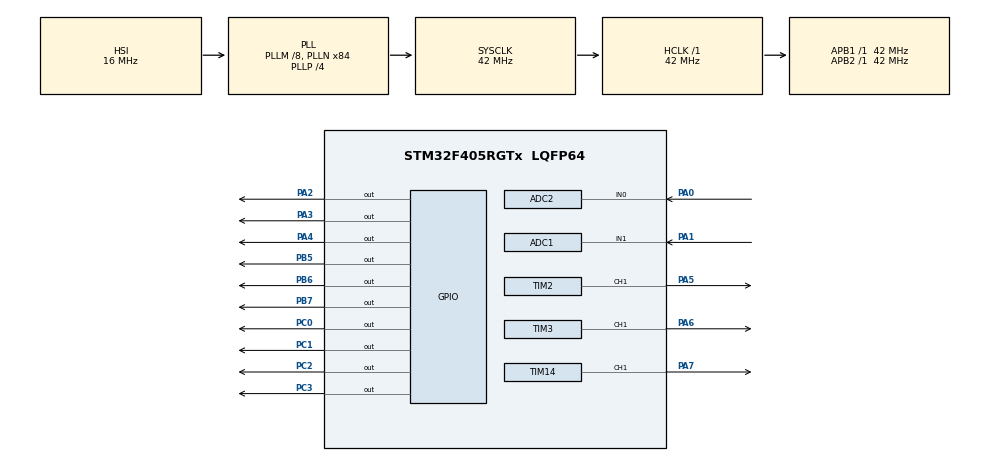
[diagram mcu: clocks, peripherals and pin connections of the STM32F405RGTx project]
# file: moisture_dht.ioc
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ADC1.Channel-1\#ChannelRegularConversion=ADC_CHANNEL_1
ADC1.ContinuousConvMode=DISABLE
ADC1.NbrOfConversionFlag=1
ADC1.Rank-1\#ChannelRegularConversion=1
ADC1.SamplingTime-1\#ChannelRegularConversion=ADC_SAMPLETIME_3CYCLES
ADC1.master=1
ADC2.Channel-1\#ChannelRegularConversion=ADC_CHANNEL_0
ADC2.ContinuousConvMode=ENABLE
ADC2.NbrOfConversionFlag=1
ADC2.Rank-1\#ChannelRegularConversion=1
ADC2.SamplingTime-1\#ChannelRegularConversion=ADC_SAMPLETIME_3CYCLES
Mcu.Family=STM32F4
Mcu.Name=STM32F405RGTx
Mcu.Package=LQFP64
NVIC.PriorityGroup=NVIC_PRIORITYGROUP_4
PA0-WKUP.Signal=ADCx_IN0
PA1.Signal=ADCx_IN1
PA2.Signal=GPIO_Output
PA3.Signal=GPIO_Output
PA4.Signal=GPIO_Output
PA5.Signal=S_TIM2_CH1_ETR
PA6.Signal=S_TIM3_CH1
PA7.Signal=S_TIM14_CH1
PB5.Signal=GPIO_Output
PB6.Signal=GPIO_Output
PB7.Signal=GPIO_Output
PC0.Signal=GPIO_Output
PC1.Signal=GPIO_Output
PC2.Signal=GPIO_Output
PC3.Signal=GPIO_Output
ProjectManager.HeapSize=0x200
ProjectManager.StackSize=0x400
ProjectManager.TargetToolchain=STM32CubeIDE
RCC.48MHZClocksFreq_Value=42000000
RCC.AHBFreq_Value=42000000
RCC.APB1Freq_Value=42000000
RCC.APB1TimFreq_Value=42000000
RCC.APB2Freq_Value=42000000
RCC.APB2TimFreq_Value=42000000
RCC.CortexFreq_Value=42000000
RCC.HCLKFreq_Value=42000000
RCC.HSE_VALUE=25000000
RCC.HSI_VALUE=16000000
RCC.LSE_VALUE=32768
RCC.PLLM=8
RCC.PLLN=84
RCC.PLLP=RCC_PLLP_DIV4
RCC.SYSCLKFreq_VALUE=42000000
RCC.SYSCLKSource=RCC_SYSCLKSOURCE_PLLCLK
RCC.VCOOutputFreq_Value=168000000
SH.ADCx_IN0.0=ADC2_IN0,IN0
SH.ADCx_IN1.0=ADC1_IN1,IN1
SH.S_TIM14_CH1.0=TIM14_CH1,PWM Generation1 CH1
SH.S_TIM2_CH1_ETR.0=TIM2_CH1,PWM Generation1 CH1
SH.S_TIM3_CH1.0=TIM3_CH1,PWM Generation1 CH1
TIM14.Channel=TIM_CHANNEL_1
TIM14.Period=799
TIM14.Prescaler=1
TIM2.Channel-PWM\ Generation1\ CH1=TIM_CHANNEL_1
TIM2.Period=99
TIM2.Prescaler=15
TIM3.Channel-PWM\ Generation1\ CH1=TIM_CHANNEL_1
TIM3.Period=9
TIM3.Prescaler=159
VP_TIM12_VS_ClockSourceINT.Mode=Internal
VP_TIM14_VS_ClockSourceINT.Mode=Enable_Timer
VP_TIM2_VS_ClockSourceINT.Mode=Internal
board=custom

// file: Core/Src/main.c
/* USER CODE BEGIN Header */
/**
 ******************************************************************************
 * @file           : main.c
 * @brief          : Main program body
 ******************************************************************************
 * @attention
 *
 * Copyright (c) 2025 STMicroelectronics.
 * All rights reserved.
 *
 * This software is licensed under terms that can be found in the LICENSE file
 * in the root directory of this software component.
 * If no LICENSE file comes with this software, it is provided AS-IS.
 *
 ******************************************************************************
 */
/* USER CODE END Header */
#include "main.h"

/* USER CODE BEGIN Includes */
#include<stdio.h>
#include "dht11.h"
#include "stdint.h"
#include "string.h"
#include "math.h"
#include "lcd.h"
/* USER CODE END Includes */

/* USER CODE BEGIN PD */
#define SOIL_MOISTURE_THRESHOLD 4050
#define LDR_HIGH_THRESHOLD 3200
#define LDR_MEDIUM_THRESHOLD 2500
#define LDR_LOW_THRESHOLD 1800
#define PWM_MAX 600
#define PWM_MEDIUM 400
#define PWM_LOW 200
#define PWM_MIN 0
#define PWM_INIT 0
/* USER CODE END PD */

ADC_HandleTypeDef hadc1;
ADC_HandleTypeDef hadc2;

TIM_HandleTypeDef htim2;
TIM_HandleTypeDef htim3;
TIM_HandleTypeDef htim12;
TIM_HandleTypeDef htim14;

void SystemClock_Config(void);
static void MX_GPIO_Init(void);
static void MX_ADC1_Init(void);
static void MX_TIM3_Init(void);
static void MX_TIM14_Init(void);
static void MX_TIM2_Init(void);
static void MX_TIM12_Init(void);
static void MX_ADC2_Init(void);
/* USER CODE BEGIN PFP */
void soilMoisture(void);
void temp_monitoring(void);
void motor_config(void);
void light_monitoring(void);
void led_pwm_config(void);
/* USER CODE END PFP */

/* USER CODE BEGIN 0 */

uint32_t analogIn = 0;
uint8_t check;
float moisture_percent = 0;
DHT11_Data dht;
uint32_t ldr_value = 0;
uint8_t flag = 0;
// Timing variables
uint32_t lastSoilMoistureTime = 0;
uint32_t lastTempMonitoringTime = 0;
uint32_t lastLightMonitoringTime = 0;
const uint32_t sensorReadInterval = 100; // Interval in milliseconds
/* USER CODE END 0 */

int main(void) {

	/* MCU Configuration--------------------------------------------------------*/

	/* Reset of all peripherals, Initializes the Flash interface and the Systick. */
	HAL_Init();

	/* Configure the system clock */
	SystemClock_Config();

	/* Initialize all configured peripherals */
	MX_GPIO_Init();
	MX_ADC1_Init();
	MX_TIM3_Init();
	MX_TIM14_Init();
	MX_TIM2_Init();
	MX_TIM12_Init();
	MX_ADC2_Init();
	/* USER CODE BEGIN 2 */

	HAL_ADC_Start(&hadc1);
	HAL_ADC_Start(&hadc2);
	HAL_TIM_PWM_Start(&htim3, TIM_CHANNEL_1);
	HAL_TIM_PWM_Start(&htim14, TIM_CHANNEL_1);
	HAL_TIM_PWM_Start(&htim2, TIM_CHANNEL_1); // Start PWM

	HAL_TIM_Base_Start(&htim12);
	DWT_Init();

	motor_config();
	led_pwm_config();

	/* USER CODE END 2 */

	/* Infinite loop */
	while (1) {
		uint32_t currentTime = HAL_GetTick(); // Get current time in milliseconds
		// Read soil moisture every sensorReadInterval milliseconds
		if (currentTime - lastSoilMoistureTime >= sensorReadInterval) {
			soilMoisture();
			lastSoilMoistureTime = currentTime;
		}
		// Read temperature every sensorReadInterval milliseconds
		if (currentTime - lastTempMonitoringTime >= sensorReadInterval) {
			temp_monitoring();
			lastTempMonitoringTime = currentTime;
		}
		// Read light level every sensorReadInterval milliseconds
		if (currentTime - lastLightMonitoringTime >= sensorReadInterval) {
			light_monitoring();
			lastLightMonitoringTime = currentTime;
		}
	}
}

void SystemClock_Config(void) {
	RCC_OscInitTypeDef RCC_OscInitStruct = { 0 };
	RCC_ClkInitTypeDef RCC_ClkInitStruct = { 0 };

	/** Configure the main internal regulator output voltage
	 */
	__HAL_RCC_PWR_CLK_ENABLE();
	__HAL_PWR_VOLTAGESCALING_CONFIG(PWR_REGULATOR_VOLTAGE_SCALE1);

	/** Initializes the RCC Oscillators according to the specified parameters
	 * in the RCC_OscInitTypeDef structure.
	 */
	RCC_OscInitStruct.OscillatorType = RCC_OSCILLATORTYPE_HSI;
	RCC_OscInitStruct.HSIState = RCC_HSI_ON;
	RCC_OscInitStruct.HSICalibrationValue = RCC_HSICALIBRATION_DEFAULT;
	RCC_OscInitStruct.PLL.PLLState = RCC_PLL_ON;
	RCC_OscInitStruct.PLL.PLLSource = RCC_PLLSOURCE_HSI;
	RCC_OscInitStruct.PLL.PLLM = 8;
	RCC_OscInitStruct.PLL.PLLN = 84;
	RCC_OscInitStruct.PLL.PLLP = RCC_PLLP_DIV4;
	RCC_OscInitStruct.PLL.PLLQ = 4;
	if (HAL_RCC_OscConfig(&RCC_OscInitStruct) != HAL_OK) {
		Error_Handler();
	}

	/** Initializes the CPU, AHB and APB buses clocks
	 */
	RCC_ClkInitStruct.ClockType = RCC_CLOCKTYPE_HCLK | RCC_CLOCKTYPE_SYSCLK
			| RCC_CLOCKTYPE_PCLK1 | RCC_CLOCKTYPE_PCLK2;
	RCC_ClkInitStruct.SYSCLKSource = RCC_SYSCLKSOURCE_PLLCLK;
	RCC_ClkInitStruct.AHBCLKDivider = RCC_SYSCLK_DIV1;
	RCC_ClkInitStruct.APB1CLKDivider = RCC_HCLK_DIV1;
	RCC_ClkInitStruct.APB2CLKDivider = RCC_HCLK_DIV1;

	if (HAL_RCC_ClockConfig(&RCC_ClkInitStruct, FLASH_LATENCY_1) != HAL_OK) {
		Error_Handler();
	}
}

static void MX_ADC1_Init(void) {

	ADC_ChannelConfTypeDef sConfig = { 0 };

	/** Configure the global features of the ADC (Clock, Resolution, Data Alignment and number of conversion)
	 */
	hadc1.Instance = ADC1;
	hadc1.Init.ClockPrescaler = ADC_CLOCK_SYNC_PCLK_DIV2;
	hadc1.Init.Resolution = ADC_RESOLUTION_12B;
	hadc1.Init.ScanConvMode = DISABLE;
	hadc1.Init.ContinuousConvMode = DISABLE;
	hadc1.Init.DiscontinuousConvMode = DISABLE;
	hadc1.Init.ExternalTrigConvEdge = ADC_EXTERNALTRIGCONVEDGE_NONE;
	hadc1.Init.ExternalTrigConv = ADC_SOFTWARE_START;
	hadc1.Init.DataAlign = ADC_DATAALIGN_RIGHT;
	hadc1.Init.NbrOfConversion = 1;
	hadc1.Init.DMAContinuousRequests = DISABLE;
	hadc1.Init.EOCSelection = ADC_EOC_SINGLE_CONV;
	if (HAL_ADC_Init(&hadc1) != HAL_OK) {
		Error_Handler();
	}

	/** Configure for the selected ADC regular channel its corresponding rank in the sequencer and its sample time.
	 */
	sConfig.Channel = ADC_CHANNEL_1;
	sConfig.Rank = 1;
	sConfig.SamplingTime = ADC_SAMPLETIME_3CYCLES;
	if (HAL_ADC_ConfigChannel(&hadc1, &sConfig) != HAL_OK) {
		Error_Handler();
	}

}

static void MX_ADC2_Init(void) {

	ADC_ChannelConfTypeDef sConfig = { 0 };

	/** Configure the global features of the ADC (Clock, Resolution, Data Alignment and number of conversion)
	 */
	hadc2.Instance = ADC2;
	hadc2.Init.ClockPrescaler = ADC_CLOCK_SYNC_PCLK_DIV2;
	hadc2.Init.Resolution = ADC_RESOLUTION_12B;
	hadc2.Init.ScanConvMode = DISABLE;
	hadc2.Init.ContinuousConvMode = ENABLE;
	hadc2.Init.DiscontinuousConvMode = DISABLE;
	hadc2.Init.ExternalTrigConvEdge = ADC_EXTERNALTRIGCONVEDGE_NONE;
	hadc2.Init.ExternalTrigConv = ADC_SOFTWARE_START;
	hadc2.Init.DataAlign = ADC_DATAALIGN_RIGHT;
	hadc2.Init.NbrOfConversion = 1;
	hadc2.Init.DMAContinuousRequests = DISABLE;
	hadc2.Init.EOCSelection = ADC_EOC_SINGLE_CONV;
	if (HAL_ADC_Init(&hadc2) != HAL_OK) {
		Error_Handler();
	}

	/** Configure for the selected ADC regular channel its corresponding rank in the sequencer and its sample time.
	 */
	sConfig.Channel = ADC_CHANNEL_0;
	sConfig.Rank = 1;
	sConfig.SamplingTime = ADC_SAMPLETIME_3CYCLES;
	if (HAL_ADC_ConfigChannel(&hadc2, &sConfig) != HAL_OK) {
		Error_Handler();
	}

}

static void MX_TIM2_Init(void) {

	TIM_ClockConfigTypeDef sClockSourceConfig = { 0 };
	TIM_MasterConfigTypeDef sMasterConfig = { 0 };
	TIM_OC_InitTypeDef sConfigOC = { 0 };

	htim2.Instance = TIM2;
	htim2.Init.Prescaler = 15;
	htim2.Init.CounterMode = TIM_COUNTERMODE_UP;
	htim2.Init.Period = 99;
	htim2.Init.ClockDivision = TIM_CLOCKDIVISION_DIV1;
	htim2.Init.AutoReloadPreload = TIM_AUTORELOAD_PRELOAD_DISABLE;
	if (HAL_TIM_Base_Init(&htim2) != HAL_OK) {
		Error_Handler();
	}
	sClockSourceConfig.ClockSource = TIM_CLOCKSOURCE_INTERNAL;
	if (HAL_TIM_ConfigClockSource(&htim2, &sClockSourceConfig) != HAL_OK) {
		Error_Handler();
	}
	if (HAL_TIM_PWM_Init(&htim2) != HAL_OK) {
		Error_Handler();
	}
	sMasterConfig.MasterOutputTrigger = TIM_TRGO_RESET;
	sMasterConfig.MasterSlaveMode = TIM_MASTERSLAVEMODE_DISABLE;
	if (HAL_TIMEx_MasterConfigSynchronization(&htim2, &sMasterConfig)
			!= HAL_OK) {
		Error_Handler();
	}
	sConfigOC.OCMode = TIM_OCMODE_PWM1;
	sConfigOC.Pulse = 0;
	sConfigOC.OCPolarity = TIM_OCPOLARITY_HIGH;
	sConfigOC.OCFastMode = TIM_OCFAST_DISABLE;
	if (HAL_TIM_PWM_ConfigChannel(&htim2, &sConfigOC, TIM_CHANNEL_1)
			!= HAL_OK) {
		Error_Handler();
	}
	HAL_TIM_MspPostInit(&htim2);

}

static void MX_TIM3_Init(void) {

	TIM_MasterConfigTypeDef sMasterConfig = { 0 };
	TIM_OC_InitTypeDef sConfigOC = { 0 };

	htim3.Instance = TIM3;
	htim3.Init.Prescaler = 159;
	htim3.Init.CounterMode = TIM_COUNTERMODE_UP;
	htim3.Init.Period = 9;
	htim3.Init.ClockDivision = TIM_CLOCKDIVISION_DIV1;
	htim3.Init.AutoReloadPreload = TIM_AUTORELOAD_PRELOAD_DISABLE;
	if (HAL_TIM_PWM_Init(&htim3) != HAL_OK) {
		Error_Handler();
	}
	sMasterConfig.MasterOutputTrigger = TIM_TRGO_RESET;
	sMasterConfig.MasterSlaveMode = TIM_MASTERSLAVEMODE_DISABLE;
	if (HAL_TIMEx_MasterConfigSynchronization(&htim3, &sMasterConfig)
			!= HAL_OK) {
		Error_Handler();
	}
	sConfigOC.OCMode = TIM_OCMODE_PWM1;
	sConfigOC.Pulse = 0;
	sConfigOC.OCPolarity = TIM_OCPOLARITY_HIGH;
	sConfigOC.OCFastMode = TIM_OCFAST_DISABLE;
	if (HAL_TIM_PWM_ConfigChannel(&htim3, &sConfigOC, TIM_CHANNEL_1)
			!= HAL_OK) {
		Error_Handler();
	}
	HAL_TIM_MspPostInit(&htim3);

}

static void MX_TIM12_Init(void) {

	TIM_ClockConfigTypeDef sClockSourceConfig = { 0 };

	htim12.Instance = TIM12;
	htim12.Init.Prescaler = 0;
	htim12.Init.CounterMode = TIM_COUNTERMODE_UP;
	htim12.Init.Period = 65535;
	htim12.Init.ClockDivision = TIM_CLOCKDIVISION_DIV1;
	htim12.Init.AutoReloadPreload = TIM_AUTORELOAD_PRELOAD_DISABLE;
	if (HAL_TIM_Base_Init(&htim12) != HAL_OK) {
		Error_Handler();
	}
	sClockSourceConfig.ClockSource = TIM_CLOCKSOURCE_INTERNAL;
	if (HAL_TIM_ConfigClockSource(&htim12, &sClockSourceConfig) != HAL_OK) {
		Error_Handler();
	}

}

static void MX_TIM14_Init(void) {

	TIM_OC_InitTypeDef sConfigOC = { 0 };

	htim14.Instance = TIM14;
	htim14.Init.Prescaler = 1;
	htim14.Init.CounterMode = TIM_COUNTERMODE_UP;
	htim14.Init.Period = 799;
	htim14.Init.ClockDivision = TIM_CLOCKDIVISION_DIV1;
	htim14.Init.AutoReloadPreload = TIM_AUTORELOAD_PRELOAD_DISABLE;
	if (HAL_TIM_Base_Init(&htim14) != HAL_OK) {
		Error_Handler();
	}
	if (HAL_TIM_PWM_Init(&htim14) != HAL_OK) {
		Error_Handler();
	}
	sConfigOC.OCMode = TIM_OCMODE_PWM1;
	sConfigOC.Pulse = 0;
	sConfigOC.OCPolarity = TIM_OCPOLARITY_HIGH;
	sConfigOC.OCFastMode = TIM_OCFAST_DISABLE;
	if (HAL_TIM_PWM_ConfigChannel(&htim14, &sConfigOC, TIM_CHANNEL_1)
			!= HAL_OK) {
		Error_Handler();
	}
	HAL_TIM_MspPostInit(&htim14);

}

static void MX_GPIO_Init(void) {
	GPIO_InitTypeDef GPIO_InitStruct = { 0 };

	/* GPIO Ports Clock Enable */
	__HAL_RCC_GPIOC_CLK_ENABLE();
	__HAL_RCC_GPIOA_CLK_ENABLE();
	__HAL_RCC_GPIOB_CLK_ENABLE();

	/*Configure GPIO pin Output Level */
	HAL_GPIO_WritePin(GPIOC, GPIO_PIN_0 | GPIO_PIN_1 | GPIO_PIN_2 | GPIO_PIN_3,
			GPIO_PIN_RESET);

	/*Configure GPIO pin Output Level */
	HAL_GPIO_WritePin(GPIOA, GPIO_PIN_2 | GPIO_PIN_3 | GPIO_PIN_4,
			GPIO_PIN_RESET);

	/*Configure GPIO pin Output Level */
	HAL_GPIO_WritePin(GPIOB, GPIO_PIN_5 | GPIO_PIN_6 | GPIO_PIN_7,
			GPIO_PIN_RESET);

	/*Configure GPIO pins : PC0 PC1 PC2 PC3 */
	GPIO_InitStruct.Pin = GPIO_PIN_0 | GPIO_PIN_1 | GPIO_PIN_2 | GPIO_PIN_3;
	GPIO_InitStruct.Mode = GPIO_MODE_OUTPUT_PP;
	GPIO_InitStruct.Pull = GPIO_NOPULL;
	GPIO_InitStruct.Speed = GPIO_SPEED_FREQ_LOW;
	HAL_GPIO_Init(GPIOC, &GPIO_InitStruct);

	/*Configure GPIO pins : PA2 PA3 PA4 */
	GPIO_InitStruct.Pin = GPIO_PIN_2 | GPIO_PIN_3 | GPIO_PIN_4;
	GPIO_InitStruct.Mode = GPIO_MODE_OUTPUT_PP;
	GPIO_InitStruct.Pull = GPIO_NOPULL;
	GPIO_InitStruct.Speed = GPIO_SPEED_FREQ_LOW;
	HAL_GPIO_Init(GPIOA, &GPIO_InitStruct);

	/*Configure GPIO pins : PB5 PB6 PB7 */
	GPIO_InitStruct.Pin = GPIO_PIN_5 | GPIO_PIN_6 | GPIO_PIN_7;
	GPIO_InitStruct.Mode = GPIO_MODE_OUTPUT_PP;
	GPIO_InitStruct.Pull = GPIO_NOPULL;
	GPIO_InitStruct.Speed = GPIO_SPEED_FREQ_LOW;
	HAL_GPIO_Init(GPIOB, &GPIO_InitStruct);

}

/* USER CODE BEGIN 4 */
void motor_config(void) {
	HAL_GPIO_WritePin(GPIOA, GPIO_PIN_4, GPIO_PIN_SET); //STBY
	HAL_GPIO_WritePin(GPIOC, GPIO_PIN_2, GPIO_PIN_SET); //AIN1
	HAL_GPIO_WritePin(GPIOC, GPIO_PIN_3, GPIO_PIN_RESET); //AIN2

	HAL_TIM_PWM_Start(&htim14, TIM_CHANNEL_1);

	__HAL_TIM_SET_COMPARE(&htim14, TIM_CHANNEL_1, 300);
}

void led_pwm_config(void) {
	HAL_GPIO_WritePin(GPIOB, GPIO_PIN_5, GPIO_PIN_SET); // STBY
	HAL_GPIO_WritePin(GPIOB, GPIO_PIN_6, GPIO_PIN_SET); // AIN1
	HAL_GPIO_WritePin(GPIOB, GPIO_PIN_7, GPIO_PIN_RESET); // AIN2

	HAL_TIM_PWM_Start(&htim2, TIM_CHANNEL_1); // Start PWM
	__HAL_TIM_SET_COMPARE(&htim2, TIM_CHANNEL_1, 0); // Start with 0 duty
}
void soilMoisture(void) {
	HAL_ADC_Start(&hadc1);
	HAL_ADC_PollForConversion(&hadc1, HAL_MAX_DELAY);
	analogIn = HAL_ADC_GetValue(&hadc1);
	if (analogIn > SOIL_MOISTURE_THRESHOLD) {
		check = 1;
		HAL_GPIO_WritePin(GPIOA, GPIO_PIN_3, GPIO_PIN_SET); // STANDBY
		HAL_GPIO_WritePin(GPIOC, GPIO_PIN_0, GPIO_PIN_SET); // AIN1
		HAL_GPIO_WritePin(GPIOC, GPIO_PIN_1, GPIO_PIN_RESET); // AIN2
		__HAL_TIM_SET_COMPARE(&htim3, TIM_CHANNEL_1, 500);
	} else {
		__HAL_TIM_SET_COMPARE(&htim3, TIM_CHANNEL_1, 0);
		HAL_GPIO_WritePin(GPIOA, GPIO_PIN_3, GPIO_PIN_RESET); // STANDBY
	}
}
void temp_monitoring(void) {
	if (DHT11_GetData(GPIOA, GPIO_PIN_2, &dht)) {
		if (dht.Temperature >= 27 && dht.Humidity >= 73 && flag != 1) {
			uint16_t pwm_values[] = { PWM_MAX, PWM_MEDIUM, PWM_LOW, PWM_MIN };
			for (int i = 0; i < 4; i++) {
				__HAL_TIM_SET_COMPARE(&htim14, TIM_CHANNEL_1, pwm_values[i]);
				HAL_Delay(200); // Gradual decrease
			}
			flag = 1;
		} else if (dht.Temperature <= 26 && dht.Humidity >= 65 && flag == 1) {
			flag = 0;
			__HAL_TIM_SET_COMPARE(&htim14, TIM_CHANNEL_1, PWM_LOW);
		}
	}
}

void light_monitoring(void) {
	HAL_ADC_Start(&hadc1);
	HAL_ADC_PollForConversion(&hadc1, 10);
	ldr_value = HAL_ADC_GetValue(&hadc1);
	if (ldr_value >= LDR_HIGH_THRESHOLD) {
		__HAL_TIM_SET_COMPARE(&htim2, TIM_CHANNEL_1, 100);
	} else if (ldr_value >= LDR_MEDIUM_THRESHOLD) {
		__HAL_TIM_SET_COMPARE(&htim2, TIM_CHANNEL_1, 50);
	} else if (ldr_value >= LDR_LOW_THRESHOLD) {
		__HAL_TIM_SET_COMPARE(&htim2, TIM_CHANNEL_1, 25);
	} else {
		__HAL_TIM_SET_COMPARE(&htim2, TIM_CHANNEL_1, 0);
	}
}
/* USER CODE END 4 */

void Error_Handler(void) {
	__disable_irq();
	while (1) {
	}
}
